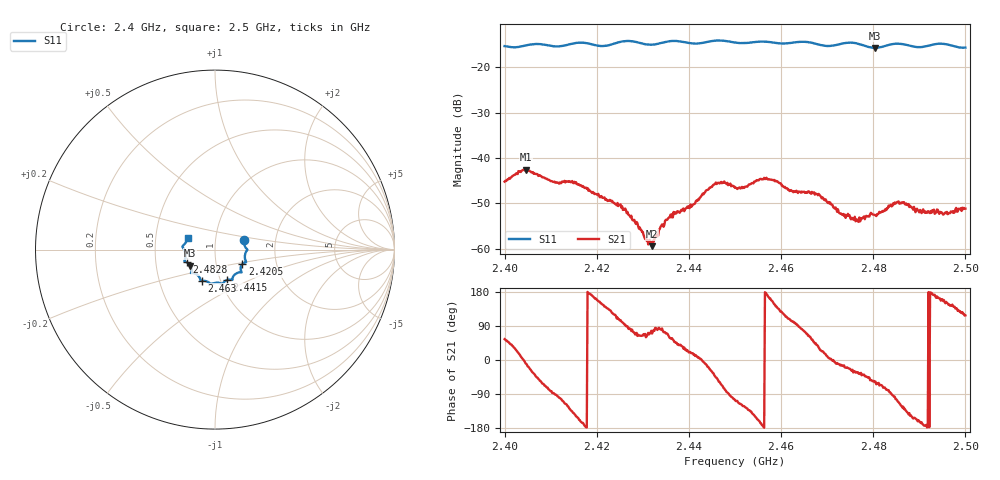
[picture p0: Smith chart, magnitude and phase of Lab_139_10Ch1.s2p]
# Hz S RI R 50
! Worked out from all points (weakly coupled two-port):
!   601 points, 2.4 GHz to 2.5 GHz, reference 50 ohm
!   highest |S21| = -42.54 dB at 2.4047 GHz (marker M1); lowest = -59.4 dB at 2.432 GHz (marker M2)
!   lowest |S11| = -15.7 dB at 2.4803 GHz (marker M3), VSWR 1.39, Z = 37.4 - j6.83 ohm
!   |S11| at or under -10 dB: start of sweep to end of sweep
!   S12 and S22 are empty: the file has one direction only
!   S11 on the Smith chart (normalised r, x): 2.4 GHz: 1.38, +0.15; 2.4205 GHz: 1.34, -0.22; 2.4415 GHz: 1.07, -0.38; 2.463 GHz: 0.82, -0.29; 2.4828 GHz: 0.72, -0.10; 2.5 GHz: 0.73, +0.10
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2.4e9  0.1629 0.0521  0.00315 0.0045  0 0  0 0
2.404667e9  0.174 0.00587  0.00735 -0.0013  0 0  0 0
2.416667e9  0.1733 -0.0698  -0.00479 -0.00135  0 0  0 0
2.4205e9  0.152 -0.0808  -0.00345 0.00168  0 0  0 0
2.425667e9  0.1474 -0.1245  -0.000362 0.00265  0 0  0 0
2.430667e9  0.1215 -0.1315  0.000659 0.00114  0 0  0 0
2.432e9  0.1087 -0.1404  0.000369 0.001  0 0  0 0
2.433333e9  0.1004 -0.1516  0.000166 0.00139  0 0  0 0
2.4355e9  0.0976 -0.1664  0.000893 0.00198  0 0  0 0
2.4415e9  0.0656 -0.1701  0.00326 0.000733  0 0  0 0
2.445833e9  0.0421 -0.1923  0.00375 -0.00384  0 0  0 0
2.45e9  0.0247 -0.1858  -0.0013 -0.0045  0 0  0 0
2.456833e9  -0.0244 -0.1894  -0.00603 0.000617  0 0  0 0
2.463e9  -0.072 -0.1737  -0.000608 0.00419  0 0  0 0
2.466667e9  -0.0818 -0.1673  0.0025 0.00342  0 0  0 0
2.476333e9  -0.1325 -0.1271  0.00178 -0.0011  0 0  0 0
2.480333e9  -0.1374 -0.0889  0.00123 -0.00201  0 0  0 0
2.482833e9  -0.1585 -0.07  0.000536 -0.00262  0 0  0 0
2.483333e9  -0.1625 -0.0681  0.00055 -0.00293  0 0  0 0
2.486333e9  -0.1697 -0.0601  -0.00189 -0.00265  0 0  0 0
2.495667e9  -0.1788 0.0214  -0.00217 0.00127  0 0  0 0
2.5e9  -0.1522 0.0638  -0.00129 0.00245  0 0  0 0
